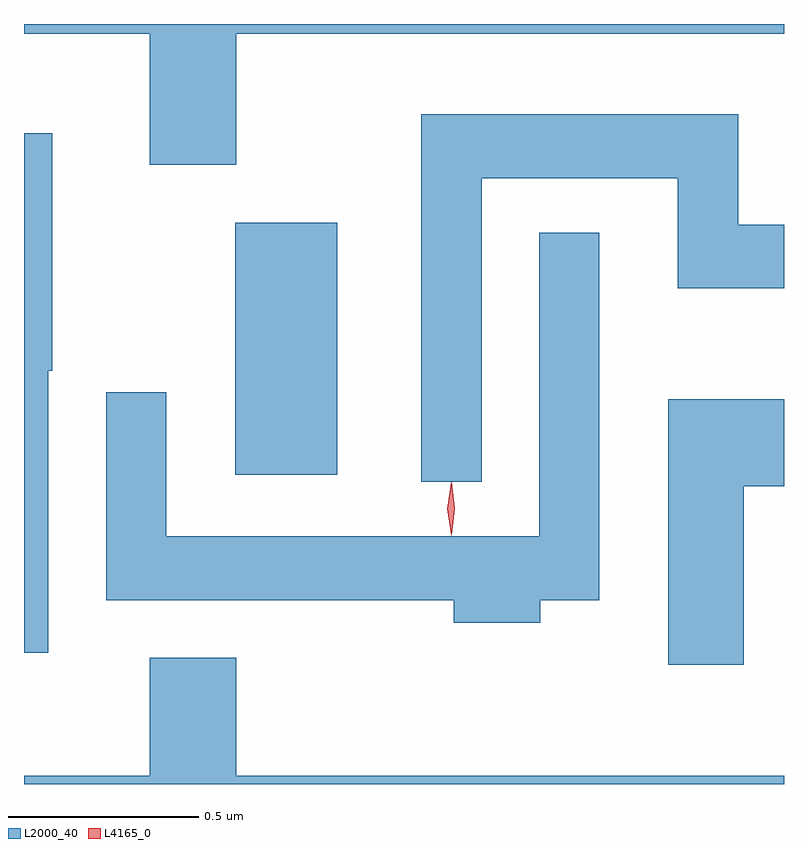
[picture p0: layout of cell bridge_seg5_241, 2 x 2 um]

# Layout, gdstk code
import gdstk
lib = gdstk.Library(unit=1e-6, precision=1e-09)
def R(c, l, rs):  # rectangles x0, y0, x1, y1
    for r in rs: c.add(gdstk.rectangle(r[:2], r[2:], *l))
def P(c, l, *ps):  # polygons
    for p in ps: c.add(gdstk.Polygon(p, *l))
L2000_40 = (2000, 40)
L4165_0 = (4165, 0)

bridge_seg5_241 = lib.new_cell('bridge_seg5_241')
R(bridge_seg5_241, L2000_40, [(1327.116,1428.996,1327.384,1429.659)])
P(bridge_seg5_241, L2000_40, [(1327.119,1430.156),(1328.56,1430.156),(1328.56,1430.182),(1326.56,1430.182),(1326.56,1430.156),(1326.891,1430.156),(1326.891,1429.811),(1327.119,1429.811)],
  [(1327.764,1429.776),(1328.281,1429.776),(1328.281,1429.486),(1328.56,1429.486),(1328.56,1429.654),(1328.439,1429.654),(1328.439,1429.944),(1327.606,1429.944),(1327.606,1428.978),(1327.764,1428.978)],
  [(1326.624,1429.27),(1326.634,1429.27),(1326.634,1429.894),(1326.56,1429.894),(1326.56,1428.528),(1326.624,1428.528)],
  [(1327.919,1428.666),(1328.074,1428.666),(1328.074,1429.633),(1327.916,1429.633),(1327.916,1428.834),(1326.934,1428.834),(1326.934,1429.213),(1326.776,1429.213),(1326.776,1428.666),(1327.691,1428.666),(1327.691,1428.606),(1327.919,1428.606)],
  [(1328.454,1428.966),(1328.56,1428.966),(1328.56,1429.194),(1328.256,1429.194),(1328.256,1428.496),(1328.454,1428.496)],
  [(1328.56,1428.204),(1327.119,1428.204),(1327.119,1428.514),(1326.891,1428.514),(1326.891,1428.204),(1326.56,1428.204),(1326.56,1428.182),(1328.56,1428.182)])
P(bridge_seg5_241, L4165_0, [(1327.684,1428.837),(1327.684,1428.838),(1327.674,1428.906),(1327.684,1428.976),(1327.684,1428.976),(1327.685,1428.976),(1327.694,1428.906),(1327.685,1428.838)],
  [(1327.684,1428.839),(1327.684,1428.84),(1327.674,1428.906),(1327.684,1428.972),(1327.684,1428.973),(1327.685,1428.972),(1327.694,1428.906),(1327.685,1428.84)])

lib.write_gds('bridge_seg5_241.gds')
